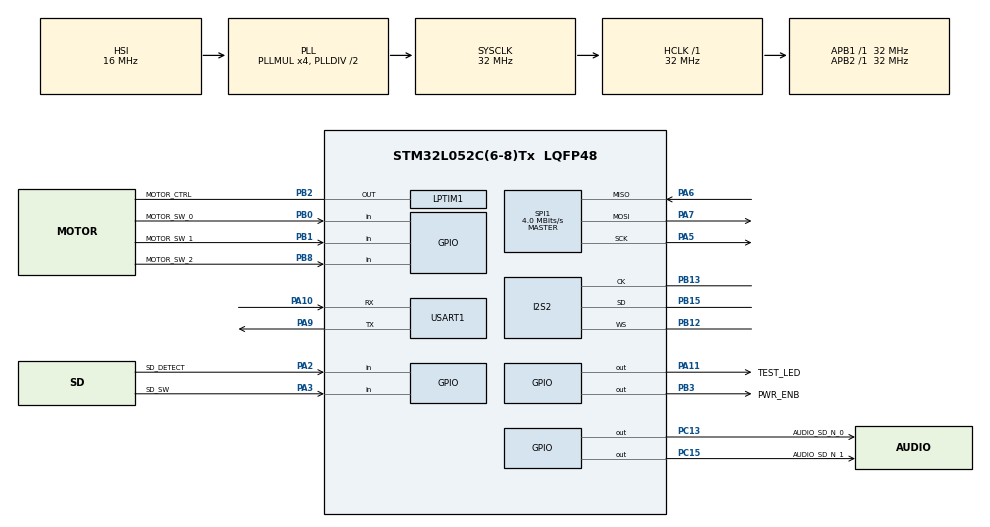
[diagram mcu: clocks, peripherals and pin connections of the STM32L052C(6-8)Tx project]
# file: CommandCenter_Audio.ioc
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Dma.Request0=SPI2_TX
Dma.SPI2_TX.0.Direction=DMA_MEMORY_TO_PERIPH
Dma.SPI2_TX.0.Instance=DMA1_Channel5
Dma.SPI2_TX.0.MemDataAlignment=DMA_MDATAALIGN_BYTE
Dma.SPI2_TX.0.MemInc=DMA_MINC_ENABLE
Dma.SPI2_TX.0.Mode=DMA_NORMAL
Dma.SPI2_TX.0.PeriphDataAlignment=DMA_PDATAALIGN_BYTE
Dma.SPI2_TX.0.PeriphInc=DMA_PINC_DISABLE
Dma.SPI2_TX.0.Priority=DMA_PRIORITY_LOW
FATFS._FS_LOCK=0
FATFS._FS_MINIMIZE=3
FATFS._FS_TINY=1
I2S2.AudioFreq=I2S_AUDIOFREQ_44K
I2S2.CPOL=I2S_CPOL_HIGH
I2S2.ErrorAudioFreq=-1.18 %
I2S2.Instance=SPI$Index
I2S2.RealAudioFreq=43.478 KHz
I2S2.VirtualMode=I2S_MODE_MASTER
LPTIM1.ClockPrescaler=LPTIM_PRESCALER_DIV128
LPTIM1.OutputPolarity=LPTIM_OUTPUTPOLARITY_LOW
LPTIM1.TriggerSource=LPTIM_TRIGSOURCE_SOFTWARE
LPTIM1.UpdateMode=LPTIM_UPDATE_ENDOFPERIOD
Mcu.Family=STM32L0
Mcu.Name=STM32L052C(6-8)Tx
Mcu.Package=LQFP48
NVIC.DMA1_Channel4_5_6_7_IRQn=true\:0\:0\:false\:false\:true\:false\:true
NVIC.USART1_IRQn=true\:0\:0\:false\:false\:true\:true\:true
PA0.Mode=SYS_WakeUp0
PA0.Signal=SYS_WKUP1
PA10.Mode=Asynchronous
PA10.Signal=USART1_RX
PA11.GPIO_Label=TEST_LED
PA11.Signal=GPIO_Output
PA13.Mode=Serial_Wire
PA13.Signal=SYS_SWDIO
PA14.Mode=Serial_Wire
PA14.Signal=SYS_SWCLK
PA2.GPIO_Label=SD_DETECT
PA2.Signal=GPIO_Input
PA3.GPIO_Label=SD_SW
PA3.Signal=GPIO_Input
PA4.Signal=SPI1_NSS
PA5.Mode=Full_Duplex_Master
PA5.Signal=SPI1_SCK
PA6.Mode=Full_Duplex_Master
PA6.Signal=SPI1_MISO
PA7.Mode=Full_Duplex_Master
PA7.Signal=SPI1_MOSI
PA9.Mode=Asynchronous
PA9.Signal=USART1_TX
PB0.GPIO_Label=MOTOR_SW_0
PB0.Signal=GPIO_Input
PB1.GPIO_Label=MOTOR_SW_1
PB1.Signal=GPIO_Input
PB12.Mode=Half_Duplex_Master
PB12.Signal=I2S2_WS
PB13.Mode=Half_Duplex_Master
PB13.Signal=I2S2_CK
PB15.Mode=Half_Duplex_Master
PB15.Signal=I2S2_SD
PB2.GPIO_Label=MOTOR_CTRL
PB2.Mode=WaveformGeneration
PB2.Signal=LPTIM1_OUT
PB3.GPIO_Label=PWR_ENB
PB3.Signal=GPIO_Output
PB8.GPIO_Label=MOTOR_SW_2
PB8.Signal=GPIO_Input
PC13.GPIO_Label=AUDIO_SD_N_0
PC13.Signal=GPIO_Output
PC15-OSC32_OUT.GPIO_Label=AUDIO_SD_N_1
PC15-OSC32_OUT.Signal=GPIO_Output
ProjectManager.HeapSize=0x200
ProjectManager.StackSize=0x400
ProjectManager.TargetToolchain=STM32CubeIDE
RCC.AHBFreq_Value=32000000
RCC.APB1Freq_Value=32000000
RCC.APB1TimFreq_Value=32000000
RCC.APB2Freq_Value=32000000
RCC.APB2TimFreq_Value=32000000
RCC.HCLKFreq_Value=32000000
RCC.HSE_VALUE=8000000
RCC.HSI16_VALUE=16000000
RCC.HSI48_VALUE=48000000
RCC.HSI_VALUE=16000000
RCC.LSE_VALUE=32768
RCC.MSI_VALUE=2097000
RCC.PLLMUL=RCC_PLLMUL_4
RCC.SYSCLKFreq_VALUE=32000000
RCC.SYSCLKSource=RCC_SYSCLKSOURCE_PLLCLK
RCC.VCOOutputFreq_Value=64000000
SPI1.BaudRatePrescaler=SPI_BAUDRATEPRESCALER_8
SPI1.CalculateBaudRate=4.0 MBits/s
SPI1.Direction=SPI_DIRECTION_2LINES
SPI1.Mode=SPI_MODE_MASTER
SPI1.VirtualType=VM_MASTER
USART1.VirtualMode-Asynchronous=VM_ASYNC
VP_FATFS_VS_Generic.Mode=User_defined
VP_LPTIM1_VS_LPTIM_counterModeInternalClock.Mode=Counts__internal_clock_event_00
board=custom

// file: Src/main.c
/* USER CODE BEGIN Header */
/**
  ******************************************************************************
  * @file           : main.c
  * @brief          : Main program body
  ******************************************************************************
  * @attention
  *
  * <h2><center>&copy; Copyright (c) 2019 STMicroelectronics.
  * All rights reserved.</center></h2>
  *
  * This software component is licensed by ST under BSD 3-Clause license,
  * the "License"; You may not use this file except in compliance with the
  * License. You may obtain a copy of the License at:
  *                        opensource.org/licenses/BSD-3-Clause
  *
  ******************************************************************************
  */
/* USER CODE END Header */

#include "main.h"
#include "string.h"
#include "stm32l0xx_hal.h"
#include "dma.h"
#include "diskio.h"
#include "ff.h"
#include "lptim.h"
#include "i2s.h"
#include "spi.h"
#include "usart.h"
#include "gpio.h"
#include "wav_player.h"
#include "motor.h"

/* USER CODE BEGIN PV */
uint8_t uart_data;
uint8_t uart_ready = 0;
uint16_t timer_1sec = 0;
uint8_t timer_1sec_flag = 0;
FATFS FatFs;
/* USER CODE END PV */

void SystemClock_Config(void);
/* USER CODE BEGIN PFP */
void wav_file_lut(uint8_t audio_code, char * wav_file);
/* USER CODE END PFP */

int main(void)
{

  /* MCU Configuration--------------------------------------------------------*/

  /* Reset of all peripherals, Initializes the Flash interface and the Systick. */
  HAL_Init();

  /* Configure the system clock */
  SystemClock_Config();

  /* Initialize all configured peripherals */
  MX_GPIO_Init();
  MX_DMA_Init();
  MX_I2S2_Init();
  MX_SPI1_Init();
  MX_USART1_UART_Init();
  MX_LPTIM1_Init();
  /* USER CODE BEGIN 2 */
  HAL_Delay(100);
  HAL_GPIO_WritePin(PWR_ENB_GPIO_Port, PWR_ENB_Pin, GPIO_PIN_SET);

  // Mount SD Card
  HAL_GPIO_WritePin(SD_CS_GPIO_Port, SD_CS_Pin, GPIO_PIN_SET);
  f_mount(&FatFs, "", 1);

  // Audio
  uint8_t new_audio_flag = 0;
  uint8_t audio_is_playing = 0;
  uint8_t audio_code;

  char audio_files[31][32];
  strcpy(audio_files[0], "blip.wav");
  strcpy(audio_files[1], "bloop.wav");
  strcpy(audio_files[2], "blurp.wav");
  strcpy(audio_files[3], "boing.wav");
  strcpy(audio_files[4], "decrement.wav");
  strcpy(audio_files[5], "increment.wav");
  strcpy(audio_files[6], "start_engine.wav");
  strcpy(audio_files[7], "find_red.wav");
  strcpy(audio_files[8], "find_green.wav");
  strcpy(audio_files[9], "find_blue.wav");
  strcpy(audio_files[10], "find_yellow.wav");
  strcpy(audio_files[11], "find_purple.wav");
  strcpy(audio_files[12], "find_pink.wav");
  strcpy(audio_files[13], "find_orange.wav");
  strcpy(audio_files[14], "red.wav");
  strcpy(audio_files[15], "green.wav");
  strcpy(audio_files[16], "blue.wav");
  strcpy(audio_files[17], "yellow.wav");
  strcpy(audio_files[18], "purple.wav");
  strcpy(audio_files[19], "pink.wav");
  strcpy(audio_files[20], "orange.wav");
  strcpy(audio_files[21], "red.wav");
  strcpy(audio_files[22], "green.wav");
  strcpy(audio_files[23], "blue.wav");
  strcpy(audio_files[24], "yellow.wav");
  strcpy(audio_files[25], "purple.wav");
  strcpy(audio_files[26], "pink.wav");
  strcpy(audio_files[27], "orange.wav");
  strcpy(audio_files[28], "pete_the_cat.wav");
  strcpy(audio_files[29], "snuggle_puppy.wav");
  strcpy(audio_files[30], "elmo.wav");

  // Setup Motor PWM
  motor_state motor_position_new;
  motor_state motor_position_last;
  motor_position_last = get_motor_position();
  set_motor_position(motor_position_last);

  // Wake switch
  GPIO_PinState wake_sw_state;

  // States
  typedef enum states {ST_off, ST_sleep, ST_awake} states;
  states state = ST_off;

  // Inactivity detection
  uint16_t inactivity_timeout = 600;
  uint16_t inactivity_timer = inactivity_timeout;

  // Test LED
  HAL_GPIO_WritePin(TEST_LED_GPIO_Port, TEST_LED_Pin, GPIO_PIN_RESET);

  /* USER CODE END 2 */

  /* Infinite loop */
  /* USER CODE BEGIN WHILE */
  while (1)
  {

    wake_sw_state = HAL_GPIO_ReadPin(WKUP_GPIO_Port, WKUP_Pin);
    if (wake_sw_state == GPIO_PIN_SET) {
      state = ST_off;
    }

    switch(state) {

      ///////////////////////////////////////////////////////////////////////////////////
      // Off State
      // Key is turned to the off position
      ///////////////////////////////////////////////////////////////////////////////////
      case ST_off:
        if (wake_sw_state == GPIO_PIN_RESET) {
          new_audio_flag = 1;
          audio_code = AUDIO_TRIG_START;
          state = ST_awake;
        }
        HAL_Delay(200);
        break;

      ///////////////////////////////////////////////////////////////////////////////////
      // Sleep State
      // Go here after period of inactivity
      // Look for motor switch change or message from Light controller to wake up
      ///////////////////////////////////////////////////////////////////////////////////
      case ST_sleep:
        HAL_UART_Receive_IT(&huart1, &uart_data, 1);
        motor_position_new = get_motor_position();
        if ((motor_position_new != motor_position_last) || (uart_ready)) {
          state = ST_awake;
          uart_ready = 0;
          inactivity_timer = inactivity_timeout;
          uint8_t inactivity_det_msg = 2;
          HAL_UART_Transmit(&huart1, &inactivity_det_msg, 1, HAL_MAX_DELAY);
        }
        break;

      ///////////////////////////////////////////////////////////////////////////////////
      // Wake State
      ///////////////////////////////////////////////////////////////////////////////////
      case ST_awake:

        // Motor control
        motor_position_new = update_motor(motor_position_last);
        if (motor_position_new != motor_position_last) {
          audio_code = 28 + motor_position_new;
          new_audio_flag = 1;
          motor_position_last = motor_position_new;
        }

        // Check for pending audio from light controller
        HAL_UART_Receive_IT(&huart1, &uart_data, 1);
        if (uart_ready == 1) {
          audio_code = uart_data;
          if ((audio_code >= 14) && (audio_code <= 15)) {
            play_wav("awesome.wav");
            HAL_Delay(200);
          } else if ((audio_code >= 16) && (audio_code <= 18)) {
            play_wav("good_job.wav");
            HAL_Delay(200);
          } else if ((audio_code >= 19) && (audio_code <= 20)) {
            play_wav("you_did_it.wav");
            HAL_Delay(200);
          }
          new_audio_flag = 1;
          uart_ready = 0;
        }

        // If new audio comes in while something is already playing
        //  need to close the file and open the a new one.
        if (new_audio_flag == 1) {
          if (audio_is_playing) {
            close_wav();
          }
          open_wav(audio_files[audio_code]);
        }

        // Play a chunk of audio
        if ((new_audio_flag) || (audio_is_playing)) {
          audio_is_playing = 1;
          new_audio_flag = 0;
          uint8_t file_complete = play_chunk();
          inactivity_timer = inactivity_timeout;
          if (file_complete == 1) {
            close_wav();
            audio_is_playing = 0;
            HAL_UART_Transmit(&huart1, &audio_is_playing, 1, HAL_MAX_DELAY);
          }
        }

        // Detect inactivity / wake
        if (timer_1sec_flag) {
          if (inactivity_timer == 0) {
            uint8_t inactivity_det_msg = 3;
            HAL_UART_Transmit(&huart1, &inactivity_det_msg, 1, HAL_MAX_DELAY);
            state = ST_sleep;
          } else {
            inactivity_timer--;
          }
          timer_1sec_flag = 0;
        }
        break;

      default:
        state = ST_awake;

    }

    /* USER CODE END WHILE */

  }
}

void SystemClock_Config(void)
{

  RCC_OscInitTypeDef RCC_OscInitStruct;
  RCC_ClkInitTypeDef RCC_ClkInitStruct;
  RCC_PeriphCLKInitTypeDef PeriphClkInit;

    /**Configure the main internal regulator output voltage
    */
  __HAL_PWR_VOLTAGESCALING_CONFIG(PWR_REGULATOR_VOLTAGE_SCALE1);

    /**Initializes the CPU, AHB and APB busses clocks
    */
  RCC_OscInitStruct.OscillatorType = RCC_OSCILLATORTYPE_HSI;
  RCC_OscInitStruct.HSIState = RCC_HSI_ON;
  RCC_OscInitStruct.HSICalibrationValue = 16;
  RCC_OscInitStruct.PLL.PLLState = RCC_PLL_ON;
  RCC_OscInitStruct.PLL.PLLSource = RCC_PLLSOURCE_HSI;
  RCC_OscInitStruct.PLL.PLLMUL = RCC_PLLMUL_4;
  RCC_OscInitStruct.PLL.PLLDIV = RCC_PLLDIV_2;
  if (HAL_RCC_OscConfig(&RCC_OscInitStruct) != HAL_OK)
  {
    _Error_Handler(__FILE__, __LINE__);
  }

    /**Initializes the CPU, AHB and APB busses clocks
    */
  RCC_ClkInitStruct.ClockType = RCC_CLOCKTYPE_HCLK|RCC_CLOCKTYPE_SYSCLK
                              |RCC_CLOCKTYPE_PCLK1|RCC_CLOCKTYPE_PCLK2;
  RCC_ClkInitStruct.SYSCLKSource = RCC_SYSCLKSOURCE_PLLCLK;
  RCC_ClkInitStruct.AHBCLKDivider = RCC_SYSCLK_DIV1;
  RCC_ClkInitStruct.APB1CLKDivider = RCC_HCLK_DIV1;
  RCC_ClkInitStruct.APB2CLKDivider = RCC_HCLK_DIV1;

  if (HAL_RCC_ClockConfig(&RCC_ClkInitStruct, FLASH_LATENCY_1) != HAL_OK)
  {
    _Error_Handler(__FILE__, __LINE__);
  }

  PeriphClkInit.PeriphClockSelection = RCC_PERIPHCLK_USART1|RCC_PERIPHCLK_LPTIM1;
  PeriphClkInit.Usart1ClockSelection = RCC_USART1CLKSOURCE_PCLK2;
  PeriphClkInit.LptimClockSelection = RCC_LPTIM1CLKSOURCE_PCLK;
  if (HAL_RCCEx_PeriphCLKConfig(&PeriphClkInit) != HAL_OK)
  {
    _Error_Handler(__FILE__, __LINE__);
  }

    /**Configure the Systick interrupt time
    */
  HAL_SYSTICK_Config(HAL_RCC_GetHCLKFreq()/1000);

    /**Configure the Systick
    */
  HAL_SYSTICK_CLKSourceConfig(SYSTICK_CLKSOURCE_HCLK);

  /* SysTick_IRQn interrupt configuration */
  HAL_NVIC_SetPriority(SysTick_IRQn, 0, 0);
}

/* USER CODE BEGIN 4 */
void HAL_SYSTICK_Callback(void) {
  if (timer_1sec == 1000) {
    timer_1sec = 0;
    timer_1sec_flag = 1;
  } else {
    timer_1sec++;
  }
  return;
}

void HAL_UART_RxCpltCallback(UART_HandleTypeDef *huart) {
  uart_ready = 1;
}
/* USER CODE END 4 */

void _Error_Handler(char *file, int line)
{
  while(1)
  {
  }
}

/************************ (C) COPYRIGHT STMicroelectronics *****END OF FILE****/
